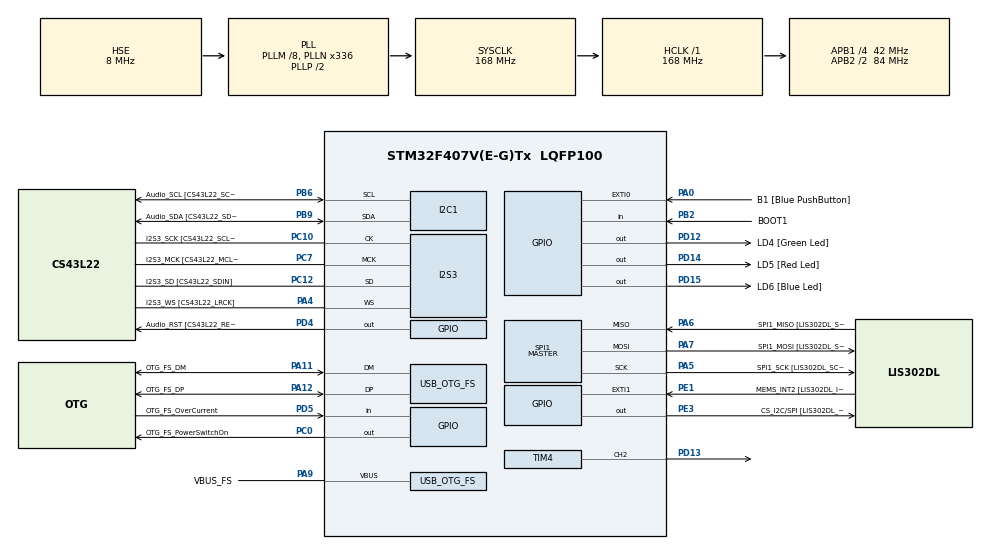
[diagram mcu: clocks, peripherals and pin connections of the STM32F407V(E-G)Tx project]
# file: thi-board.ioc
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FREERTOS.Queues01=logQueue,16,uint32_t,0,Dynamic,NULL,NULL
FREERTOS.Tasks01=IOControl,32,128,IOControlTask,Default,NULL,Dynamic,NULL,NULL;displayTask,40,128,StartDisplayTask,Default,NULL,Dynamic,NULL,NULL;readMsCounter,8,128,StartTask03,Default,NULL,Dynamic,NULL,NULL
FREERTOS.configUSE_NEWLIB_REENTRANT=1
I2S3.AudioFreq-Half_Duplex_Master=I2S_AUDIOFREQ_96K
I2S3.ErrorAudioFreq=-2.34 %
I2S3.ErrorAudioFreq-Half_Duplex_Master=0.8 %
I2S3.FullDuplexMode=I2S_FULLDUPLEXMODE_DISABLE
I2S3.Instance=SPI$Index
I2S3.RealAudioFreq=93.75 KHz
I2S3.RealAudioFreq-Half_Duplex_Master=96.774 KHz
I2S3.VirtualMode=I2S_MODE_MASTER
Mcu.Family=STM32F4
Mcu.Name=STM32F407V(E-G)Tx
Mcu.Package=LQFP100
NVIC.OTG_FS_IRQn=true\:5\:0\:false\:false\:true\:true\:true\:true\:true
NVIC.PriorityGroup=NVIC_PRIORITYGROUP_4
NVIC.TIM7_IRQn=true\:5\:0\:false\:false\:true\:true\:true\:true\:true
NVIC.TIM8_UP_TIM13_IRQn=true\:15\:0\:false\:false\:true\:false\:false\:true\:true
NVIC.TimeBase=TIM8_UP_TIM13_IRQn
NVIC.TimeBaseIP=TIM8
PA0-WKUP.GPIO_Label=B1 [Blue PushButton]
PA0-WKUP.GPIO_ModeDefaultEXTI=GPIO_MODE_EVT_RISING
PA0-WKUP.GPIO_PuPd=GPIO_NOPULL
PA0-WKUP.Signal=GPXTI0
PA10.GPIO_Label=OTG_FS_ID
PA10.GPIO_Mode=GPIO_MODE_AF_PP
PA10.GPIO_PuPd=GPIO_NOPULL
PA10.GPIO_Speed=GPIO_SPEED_FREQ_LOW
PA10.Signal=USB_OTG_FS_ID
PA11.GPIO_Label=OTG_FS_DM
PA11.GPIO_Mode=GPIO_MODE_AF_PP
PA11.GPIO_PuPd=GPIO_NOPULL
PA11.GPIO_Speed=GPIO_SPEED_FREQ_LOW
PA11.Mode=Host_Only
PA11.Signal=USB_OTG_FS_DM
PA12.GPIO_Label=OTG_FS_DP
PA12.GPIO_Mode=GPIO_MODE_AF_PP
PA12.GPIO_PuPd=GPIO_NOPULL
PA12.GPIO_Speed=GPIO_SPEED_FREQ_LOW
PA12.Mode=Host_Only
PA12.Signal=USB_OTG_FS_DP
PA13.GPIO_Label=SWDIO
PA13.Mode=Serial_Wire
PA13.Signal=SYS_JTMS-SWDIO
PA14.GPIO_Label=SWCLK
PA14.Mode=Serial_Wire
PA14.Signal=SYS_JTCK-SWCLK
PA4.GPIO_Label=I2S3_WS [CS43L22_LRCK]
PA4.GPIO_Mode=GPIO_MODE_AF_PP
PA4.GPIO_PuPd=GPIO_NOPULL
PA4.GPIO_Speed=GPIO_SPEED_FREQ_LOW
PA4.Mode=Half_Duplex_Master
PA4.Signal=I2S3_WS
PA5.GPIO_Label=SPI1_SCK [LIS302DL_SCL/SPC]
PA5.GPIO_Mode=GPIO_MODE_AF_PP
PA5.GPIO_PuPd=GPIO_NOPULL
PA5.GPIO_Speed=GPIO_SPEED_FREQ_LOW
PA5.Mode=Full_Duplex_Master
PA5.Signal=SPI1_SCK
PA6.GPIO_Label=SPI1_MISO [LIS302DL_SDO]
PA6.GPIO_Mode=GPIO_MODE_AF_PP
PA6.GPIO_PuPd=GPIO_NOPULL
PA6.GPIO_Speed=GPIO_SPEED_FREQ_LOW
PA6.Mode=Full_Duplex_Master
PA6.Signal=SPI1_MISO
PA7.GPIO_Label=SPI1_MOSI [LIS302DL_SDA/SDI/SDO]
PA7.GPIO_Mode=GPIO_MODE_AF_PP
PA7.GPIO_PuPd=GPIO_NOPULL
PA7.GPIO_Speed=GPIO_SPEED_FREQ_LOW
PA7.Mode=Full_Duplex_Master
PA7.Signal=SPI1_MOSI
PA9.GPIO_Label=VBUS_FS
PA9.GPIO_Mode=GPIO_MODE_INPUT
PA9.GPIO_PuPd=GPIO_NOPULL
PA9.Mode=Activate_VBUS
PA9.Signal=USB_OTG_FS_VBUS
PB10.GPIO_Label=CLK_IN [MP45DT02_CLK]
PB10.GPIO_Mode=GPIO_MODE_AF_PP
PB10.GPIO_PuPd=GPIO_NOPULL
PB10.GPIO_Speed=GPIO_SPEED_FREQ_LOW
PB10.Signal=I2S2_CK
PB2.GPIO_Label=BOOT1
PB2.GPIO_Mode=GPIO_MODE_INPUT
PB2.GPIO_PuPd=GPIO_NOPULL
PB2.Signal=GPIO_Input
PB3.GPIO_Label=SWO
PB3.Signal=SYS_JTDO-SWO
PB6.GPIO_Label=Audio_SCL [CS43L22_SCL]
PB6.GPIO_Mode=GPIO_MODE_AF_OD
PB6.GPIO_Pu=GPIO_PULLUP
PB6.GPIO_PuPd=GPIO_NOPULL
PB6.GPIO_Speed=GPIO_SPEED_FREQ_LOW
PB6.Mode=I2C
PB6.Signal=I2C1_SCL
PB9.GPIO_Label=Audio_SDA [CS43L22_SDA]
PB9.GPIO_Mode=GPIO_MODE_AF_OD
PB9.GPIO_Pu=GPIO_PULLUP
PB9.GPIO_PuPd=GPIO_NOPULL
PB9.GPIO_Speed=GPIO_SPEED_FREQ_LOW
PB9.Mode=I2C
PB9.Signal=I2C1_SDA
PC0.GPIO_Label=OTG_FS_PowerSwitchOn
PC0.GPIO_PuPd=GPIO_NOPULL
PC0.GPIO_Speed=GPIO_SPEED_FREQ_LOW
PC0.PinState=GPIO_PIN_SET
PC0.Signal=GPIO_Output
PC10.GPIO_Label=I2S3_SCK [CS43L22_SCLK]
PC10.GPIO_Mode=GPIO_MODE_AF_PP
PC10.GPIO_PuPd=GPIO_NOPULL
PC10.GPIO_Speed=GPIO_SPEED_FREQ_LOW
PC10.Mode=Half_Duplex_Master
PC10.Signal=I2S3_CK
PC12.GPIO_Label=I2S3_SD [CS43L22_SDIN]
PC12.GPIO_Mode=GPIO_MODE_AF_PP
PC12.GPIO_PuPd=GPIO_NOPULL
PC12.GPIO_Speed=GPIO_SPEED_FREQ_LOW
PC12.Mode=Half_Duplex_Master
PC12.Signal=I2S3_SD
PC14-OSC32_IN.GPIO_Label=PC14-OSC32_IN
PC14-OSC32_IN.Mode=LSE-External-Oscillator
PC14-OSC32_IN.Signal=RCC_OSC32_IN
PC15-OSC32_OUT.GPIO_Label=PC15-OSC32_OUT
PC15-OSC32_OUT.Mode=LSE-External-Oscillator
PC15-OSC32_OUT.Signal=RCC_OSC32_OUT
PC3.GPIO_Label=PDM_OUT [MP45DT02_DOUT]
PC3.GPIO_Mode=GPIO_MODE_AF_PP
PC3.GPIO_PuPd=GPIO_NOPULL
PC3.GPIO_Speed=GPIO_SPEED_FREQ_LOW
PC3.Signal=I2S2_SD
PC7.GPIO_Label=I2S3_MCK [CS43L22_MCLK]
PC7.GPIO_Mode=GPIO_MODE_AF_PP
PC7.GPIO_PuPd=GPIO_NOPULL
PC7.GPIO_Speed=GPIO_SPEED_FREQ_LOW
PC7.Mode=Master_Clock_Activated
PC7.Signal=I2S3_MCK
PD12.GPIO_Label=LD4 [Green Led]
PD12.GPIO_PuPd=GPIO_NOPULL
PD12.GPIO_Speed=GPIO_SPEED_FREQ_LOW
PD12.Signal=GPIO_Output
PD13.Signal=S_TIM4_CH2
PD14.GPIO_Label=LD5 [Red Led]
PD14.GPIO_PuPd=GPIO_NOPULL
PD14.GPIO_Speed=GPIO_SPEED_FREQ_LOW
PD14.Signal=GPIO_Output
PD15.GPIO_Label=LD6 [Blue Led]
PD15.GPIO_PuPd=GPIO_NOPULL
PD15.GPIO_Speed=GPIO_SPEED_FREQ_LOW
PD15.Signal=GPIO_Output
PD4.GPIO_Label=Audio_RST [CS43L22_RESET]
PD4.GPIO_PuPd=GPIO_NOPULL
PD4.GPIO_Speed=GPIO_SPEED_FREQ_LOW
PD4.Signal=GPIO_Output
PD5.GPIO_Label=OTG_FS_OverCurrent
PD5.GPIO_Mode=GPIO_MODE_INPUT
PD5.GPIO_PuPd=GPIO_NOPULL
PD5.Signal=GPIO_Input
PE1.GPIO_Label=MEMS_INT2 [LIS302DL_INT2]
PE1.GPIO_ModeDefaultEXTI=GPIO_MODE_EVT_RISING
PE1.GPIO_PuPd=GPIO_NOPULL
PE1.Signal=GPXTI1
PE3.GPIO_Label=CS_I2C/SPI [LIS302DL_CS_I2C/SPI]
PE3.GPIO_PuPd=GPIO_NOPULL
PE3.GPIO_Speed=GPIO_SPEED_FREQ_LOW
PE3.Signal=GPIO_Output
PH0-OSC_IN.GPIO_Label=PH0-OSC_IN
PH0-OSC_IN.Mode=HSE-External-Oscillator
PH0-OSC_IN.Signal=RCC_OSC_IN
PH1-OSC_OUT.GPIO_Label=PH1-OSC_OUT
PH1-OSC_OUT.Mode=HSE-External-Oscillator
PH1-OSC_OUT.Signal=RCC_OSC_OUT
ProjectManager.HeapSize=0x200
ProjectManager.StackSize=0x400
ProjectManager.TargetToolchain=STM32CubeIDE
RCC.48MHZClocksFreq_Value=48000000
RCC.AHBFreq_Value=168000000
RCC.APB1CLKDivider=RCC_HCLK_DIV4
RCC.APB1Freq_Value=42000000
RCC.APB1TimFreq_Value=84000000
RCC.APB2CLKDivider=RCC_HCLK_DIV2
RCC.APB2Freq_Value=84000000
RCC.APB2TimFreq_Value=168000000
RCC.CortexFreq_Value=168000000
RCC.HCLKFreq_Value=168000000
RCC.HSE_VALUE=8000000
RCC.HSI_VALUE=16000000
RCC.PLLM=8
RCC.PLLN=336
RCC.PLLQ=7
RCC.SYSCLKFreq_VALUE=168000000
RCC.SYSCLKSource=RCC_SYSCLKSOURCE_PLLCLK
RCC.VCOOutputFreq_Value=336000000
SH.S_TIM4_CH2.0=TIM4_CH2,PWM Generation2 CH2
SPI1.BaudRatePrescaler-Full_Duplex_Master=SPI_BAUDRATEPRESCALER_2
SPI1.CalculateBaudRate-Full_Duplex_Master=42.0 MBits/s
SPI1.Direction=SPI_DIRECTION_2LINES
SPI1.Mode=SPI_MODE_MASTER
SPI1.Mode-Full_Duplex_Master=SPI_MODE_MASTER
SPI1.VirtualType=VM_MASTER
TIM4.Channel-PWM\ Generation2\ CH2=TIM_CHANNEL_2
TIM4.Period=999
TIM4.Prescaler=419
TIM4.Pulse-PWM\ Generation2\ CH2=999
TIM7.Period=999
TIM7.Prescaler=83
TIM7.TIM_MasterOutputTrigger=TIM_TRGO_UPDATE
USB_HOST.BSP.number=1
USB_HOST.USBH_HandleTypeDef-CDC_FS=hUsbHostFS
USB_HOST.VirtualModeFS=Cdc
USB_HOST0.BSP.STBoard=false
USB_HOST0.BSP.api=Unknown
USB_HOST0.BSP.instance=PC0
USB_HOST0.BSP.ip=GPIO
USB_HOST0.BSP.mode=Output
USB_HOST0.BSP.name=Drive_VBUS_FS
USB_HOST0.BSP.solution=PC0
USB_OTG_FS.VirtualMode=Host_Only
USB_OTG_FS.phy_itface=HCD_PHY_EMBEDDED
VP_FREERTOS_VS_CMSIS_V2.Mode=CMSIS_V2
VP_SYS_VS_tim8.Mode=TIM8
VP_TIM4_VS_ClockSourceINT.Mode=Internal
VP_TIM7_VS_ClockSourceINT.Mode=Enable_Timer
VP_USB_HOST_VS_USB_HOST_CDC_FS.Mode=CDC_FS
board=STM32F407G-DISC1

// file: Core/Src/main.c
/* USER CODE BEGIN Header */
/**
  ******************************************************************************
  * @file           : main.c
  * @brief          : Main program body
  ******************************************************************************
  * @attention
  *
  * Copyright (c) 2023 STMicroelectronics.
  * All rights reserved.
  *
  * This software is licensed under terms that can be found in the LICENSE file
  * in the root directory of this software component.
  * If no LICENSE file comes with this software, it is provided AS-IS.
  *
  ******************************************************************************
  */
/* USER CODE END Header */
#include "main.h"
#include "cmsis_os.h"
#include "usb_host.h"

/* USER CODE BEGIN Includes */
#include "display.h"
#include "_mcpr_aufgabe3.h"
#include "string.h"
#include <stdio.h>
/* USER CODE END Includes */

/* USER CODE BEGIN PTD */
typedef struct log_queue_msg
{
  char msg_buf[MAX_STR_LEN];
  char threadName[MAX_STR_LEN];
} ThreadInfo;

/* USER CODE END PTD */

I2C_HandleTypeDef hi2c1;

I2S_HandleTypeDef hi2s3;

SPI_HandleTypeDef hspi1;

TIM_HandleTypeDef htim4;
TIM_HandleTypeDef htim7;

/* Definitions for IOControl */
osThreadId_t IOControlHandle;
const osThreadAttr_t IOControl_attributes = {
  .name = "IOControl",
  .stack_size = 128 * 4,
  .priority = (osPriority_t) osPriorityAboveNormal,
};
/* Definitions for displayTask */
osThreadId_t displayTaskHandle;
const osThreadAttr_t displayTask_attributes = {
  .name = "displayTask",
  .stack_size = 128 * 4,
  .priority = (osPriority_t) osPriorityHigh,
};
/* Definitions for readMsCounter */
osThreadId_t readMsCounterHandle;
const osThreadAttr_t readMsCounter_attributes = {
  .name = "readMsCounter",
  .stack_size = 128 * 4,
  .priority = (osPriority_t) osPriorityLow,
};
/* Definitions for logQueue */
osMessageQueueId_t logQueueHandle;
const osMessageQueueAttr_t logQueue_attributes = {
  .name = "logQueue"
};
/* USER CODE BEGIN PV */
volatile uint32_t ms_counter = 0;
volatile uint8_t buttonReleased = false;

/* USER CODE END PV */

void SystemClock_Config(void);
static void MX_GPIO_Init(void);
static void MX_I2C1_Init(void);
static void MX_I2S3_Init(void);
static void MX_SPI1_Init(void);
static void MX_TIM4_Init(void);
static void MX_TIM7_Init(void);
void IOControlTask(void *argument);
void StartDisplayTask(void *argument);
void StartTask03(void *argument);

int main(void)
{

  /* MCU Configuration--------------------------------------------------------*/

  /* Reset of all peripherals, Initializes the Flash interface and the Systick. */
  HAL_Init();

  /* Configure the system clock */
  SystemClock_Config();

  /* USER CODE BEGIN SysInit */
  /* GPIO Modifications done here, will be
   * overwritten by following init procedures
   */

  /* USER CODE END SysInit */

  /* Initialize all configured peripherals */
  MX_GPIO_Init();
  MX_I2C1_Init();
  MX_I2S3_Init();
  MX_SPI1_Init();
  MX_TIM4_Init();
  MX_TIM7_Init();
  /* USER CODE BEGIN 2 */
  mcpr_LCD_Init();

  HAL_TIM_Base_Start(&htim7);

  HAL_TIM_PWM_Start(&htim4, TIM_CHANNEL_2);

  /* USER CODE END 2 */

  /* Init scheduler */
  osKernelInitialize();

  /* Create the queue(s) */
  /* creation of logQueue */
  logQueueHandle = osMessageQueueNew (16, sizeof(ThreadInfo), &logQueue_attributes);

  /* Create the thread(s) */
  /* creation of IOControl */
  IOControlHandle = osThreadNew(IOControlTask, NULL, &IOControl_attributes);

  /* creation of displayTask */
  displayTaskHandle = osThreadNew(StartDisplayTask, NULL, &displayTask_attributes);

  /* creation of readMsCounter */
  readMsCounterHandle = osThreadNew(StartTask03, NULL, &readMsCounter_attributes);

  /* Start scheduler */
  osKernelStart();

  /* We should never get here as control is now taken by the scheduler */
  /* Infinite loop */
  while (1)
  {

  }
}

void SystemClock_Config(void)
{
  RCC_OscInitTypeDef RCC_OscInitStruct = {0};
  RCC_ClkInitTypeDef RCC_ClkInitStruct = {0};

  /** Configure the main internal regulator output voltage
  */
  __HAL_RCC_PWR_CLK_ENABLE();
  __HAL_PWR_VOLTAGESCALING_CONFIG(PWR_REGULATOR_VOLTAGE_SCALE1);

  /** Initializes the RCC Oscillators according to the specified parameters
  * in the RCC_OscInitTypeDef structure.
  */
  RCC_OscInitStruct.OscillatorType = RCC_OSCILLATORTYPE_HSE;
  RCC_OscInitStruct.HSEState = RCC_HSE_ON;
  RCC_OscInitStruct.PLL.PLLState = RCC_PLL_ON;
  RCC_OscInitStruct.PLL.PLLSource = RCC_PLLSOURCE_HSE;
  RCC_OscInitStruct.PLL.PLLM = 8;
  RCC_OscInitStruct.PLL.PLLN = 336;
  RCC_OscInitStruct.PLL.PLLP = RCC_PLLP_DIV2;
  RCC_OscInitStruct.PLL.PLLQ = 7;
  if (HAL_RCC_OscConfig(&RCC_OscInitStruct) != HAL_OK)
  {
    Error_Handler();
  }

  /** Initializes the CPU, AHB and APB buses clocks
  */
  RCC_ClkInitStruct.ClockType = RCC_CLOCKTYPE_HCLK|RCC_CLOCKTYPE_SYSCLK
                              |RCC_CLOCKTYPE_PCLK1|RCC_CLOCKTYPE_PCLK2;
  RCC_ClkInitStruct.SYSCLKSource = RCC_SYSCLKSOURCE_PLLCLK;
  RCC_ClkInitStruct.AHBCLKDivider = RCC_SYSCLK_DIV1;
  RCC_ClkInitStruct.APB1CLKDivider = RCC_HCLK_DIV4;
  RCC_ClkInitStruct.APB2CLKDivider = RCC_HCLK_DIV2;

  if (HAL_RCC_ClockConfig(&RCC_ClkInitStruct, FLASH_LATENCY_5) != HAL_OK)
  {
    Error_Handler();
  }
}

static void MX_I2C1_Init(void)
{

  hi2c1.Instance = I2C1;
  hi2c1.Init.ClockSpeed = 100000;
  hi2c1.Init.DutyCycle = I2C_DUTYCYCLE_2;
  hi2c1.Init.OwnAddress1 = 0;
  hi2c1.Init.AddressingMode = I2C_ADDRESSINGMODE_7BIT;
  hi2c1.Init.DualAddressMode = I2C_DUALADDRESS_DISABLE;
  hi2c1.Init.OwnAddress2 = 0;
  hi2c1.Init.GeneralCallMode = I2C_GENERALCALL_DISABLE;
  hi2c1.Init.NoStretchMode = I2C_NOSTRETCH_DISABLE;
  if (HAL_I2C_Init(&hi2c1) != HAL_OK)
  {
    Error_Handler();
  }

}

static void MX_I2S3_Init(void)
{

  hi2s3.Instance = SPI3;
  hi2s3.Init.Mode = I2S_MODE_MASTER_TX;
  hi2s3.Init.Standard = I2S_STANDARD_PHILIPS;
  hi2s3.Init.DataFormat = I2S_DATAFORMAT_16B;
  hi2s3.Init.MCLKOutput = I2S_MCLKOUTPUT_ENABLE;
  hi2s3.Init.AudioFreq = I2S_AUDIOFREQ_96K;
  hi2s3.Init.CPOL = I2S_CPOL_LOW;
  hi2s3.Init.ClockSource = I2S_CLOCK_PLL;
  hi2s3.Init.FullDuplexMode = I2S_FULLDUPLEXMODE_DISABLE;
  if (HAL_I2S_Init(&hi2s3) != HAL_OK)
  {
    Error_Handler();
  }

}

static void MX_SPI1_Init(void)
{

  /* SPI1 parameter configuration*/
  hspi1.Instance = SPI1;
  hspi1.Init.Mode = SPI_MODE_MASTER;
  hspi1.Init.Direction = SPI_DIRECTION_2LINES;
  hspi1.Init.DataSize = SPI_DATASIZE_8BIT;
  hspi1.Init.CLKPolarity = SPI_POLARITY_LOW;
  hspi1.Init.CLKPhase = SPI_PHASE_1EDGE;
  hspi1.Init.NSS = SPI_NSS_SOFT;
  hspi1.Init.BaudRatePrescaler = SPI_BAUDRATEPRESCALER_2;
  hspi1.Init.FirstBit = SPI_FIRSTBIT_MSB;
  hspi1.Init.TIMode = SPI_TIMODE_DISABLE;
  hspi1.Init.CRCCalculation = SPI_CRCCALCULATION_DISABLE;
  hspi1.Init.CRCPolynomial = 10;
  if (HAL_SPI_Init(&hspi1) != HAL_OK)
  {
    Error_Handler();
  }

}

static void MX_TIM4_Init(void)
{

  TIM_ClockConfigTypeDef sClockSourceConfig = {0};
  TIM_MasterConfigTypeDef sMasterConfig = {0};
  TIM_OC_InitTypeDef sConfigOC = {0};

  htim4.Instance = TIM4;
  htim4.Init.Prescaler = 419;
  htim4.Init.CounterMode = TIM_COUNTERMODE_UP;
  htim4.Init.Period = 999;
  htim4.Init.ClockDivision = TIM_CLOCKDIVISION_DIV1;
  htim4.Init.AutoReloadPreload = TIM_AUTORELOAD_PRELOAD_DISABLE;
  if (HAL_TIM_Base_Init(&htim4) != HAL_OK)
  {
    Error_Handler();
  }
  sClockSourceConfig.ClockSource = TIM_CLOCKSOURCE_INTERNAL;
  if (HAL_TIM_ConfigClockSource(&htim4, &sClockSourceConfig) != HAL_OK)
  {
    Error_Handler();
  }
  if (HAL_TIM_PWM_Init(&htim4) != HAL_OK)
  {
    Error_Handler();
  }
  sMasterConfig.MasterOutputTrigger = TIM_TRGO_RESET;
  sMasterConfig.MasterSlaveMode = TIM_MASTERSLAVEMODE_DISABLE;
  if (HAL_TIMEx_MasterConfigSynchronization(&htim4, &sMasterConfig) != HAL_OK)
  {
    Error_Handler();
  }
  sConfigOC.OCMode = TIM_OCMODE_PWM1;
  sConfigOC.Pulse = 999;
  sConfigOC.OCPolarity = TIM_OCPOLARITY_HIGH;
  sConfigOC.OCFastMode = TIM_OCFAST_DISABLE;
  if (HAL_TIM_PWM_ConfigChannel(&htim4, &sConfigOC, TIM_CHANNEL_2) != HAL_OK)
  {
    Error_Handler();
  }
  HAL_TIM_MspPostInit(&htim4);

}

static void MX_TIM7_Init(void)
{

  TIM_MasterConfigTypeDef sMasterConfig = {0};

  htim7.Instance = TIM7;
  htim7.Init.Prescaler = 83;
  htim7.Init.CounterMode = TIM_COUNTERMODE_UP;
  htim7.Init.Period = 999;
  htim7.Init.AutoReloadPreload = TIM_AUTORELOAD_PRELOAD_DISABLE;
  if (HAL_TIM_Base_Init(&htim7) != HAL_OK)
  {
    Error_Handler();
  }
  sMasterConfig.MasterOutputTrigger = TIM_TRGO_UPDATE;
  sMasterConfig.MasterSlaveMode = TIM_MASTERSLAVEMODE_DISABLE;
  if (HAL_TIMEx_MasterConfigSynchronization(&htim7, &sMasterConfig) != HAL_OK)
  {
    Error_Handler();
  }
  /* USER CODE BEGIN TIM7_Init 2 */

  /* Set UIE Flag - trigger interrupt on ARR overflow */
  __HAL_TIM_ENABLE_IT(&htim7, TIM_IT_UPDATE);
  /* USER CODE END TIM7_Init 2 */

}

static void MX_GPIO_Init(void)
{
  GPIO_InitTypeDef GPIO_InitStruct = {0};

  /* GPIO Ports Clock Enable */
  __HAL_RCC_GPIOE_CLK_ENABLE();
  __HAL_RCC_GPIOC_CLK_ENABLE();
  __HAL_RCC_GPIOH_CLK_ENABLE();
  __HAL_RCC_GPIOA_CLK_ENABLE();
  __HAL_RCC_GPIOB_CLK_ENABLE();
  __HAL_RCC_GPIOD_CLK_ENABLE();

  /*Configure GPIO pin Output Level */
  HAL_GPIO_WritePin(CS_I2C_SPI_GPIO_Port, CS_I2C_SPI_Pin, GPIO_PIN_RESET);

  /*Configure GPIO pin Output Level */
  HAL_GPIO_WritePin(OTG_FS_PowerSwitchOn_GPIO_Port, OTG_FS_PowerSwitchOn_Pin, GPIO_PIN_SET);

  /*Configure GPIO pin Output Level */
  HAL_GPIO_WritePin(GPIOD, LD4_Pin|LD5_Pin|LD6_Pin|Audio_RST_Pin, GPIO_PIN_RESET);

  /*Configure GPIO pin : CS_I2C_SPI_Pin */
  GPIO_InitStruct.Pin = CS_I2C_SPI_Pin;
  GPIO_InitStruct.Mode = GPIO_MODE_OUTPUT_PP;
  GPIO_InitStruct.Pull = GPIO_NOPULL;
  GPIO_InitStruct.Speed = GPIO_SPEED_FREQ_LOW;
  HAL_GPIO_Init(CS_I2C_SPI_GPIO_Port, &GPIO_InitStruct);

  /*Configure GPIO pin : OTG_FS_PowerSwitchOn_Pin */
  GPIO_InitStruct.Pin = OTG_FS_PowerSwitchOn_Pin;
  GPIO_InitStruct.Mode = GPIO_MODE_OUTPUT_PP;
  GPIO_InitStruct.Pull = GPIO_NOPULL;
  GPIO_InitStruct.Speed = GPIO_SPEED_FREQ_LOW;
  HAL_GPIO_Init(OTG_FS_PowerSwitchOn_GPIO_Port, &GPIO_InitStruct);

  /*Configure GPIO pin : PDM_OUT_Pin */
  GPIO_InitStruct.Pin = PDM_OUT_Pin;
  GPIO_InitStruct.Mode = GPIO_MODE_AF_PP;
  GPIO_InitStruct.Pull = GPIO_NOPULL;
  GPIO_InitStruct.Speed = GPIO_SPEED_FREQ_LOW;
  GPIO_InitStruct.Alternate = GPIO_AF5_SPI2;
  HAL_GPIO_Init(PDM_OUT_GPIO_Port, &GPIO_InitStruct);

  /*Configure GPIO pin : B1_Pin */
  GPIO_InitStruct.Pin = B1_Pin;
  GPIO_InitStruct.Mode = GPIO_MODE_EVT_RISING;
  GPIO_InitStruct.Pull = GPIO_NOPULL;
  HAL_GPIO_Init(B1_GPIO_Port, &GPIO_InitStruct);

  /*Configure GPIO pin : BOOT1_Pin */
  GPIO_InitStruct.Pin = BOOT1_Pin;
  GPIO_InitStruct.Mode = GPIO_MODE_INPUT;
  GPIO_InitStruct.Pull = GPIO_NOPULL;
  HAL_GPIO_Init(BOOT1_GPIO_Port, &GPIO_InitStruct);

  /*Configure GPIO pin : CLK_IN_Pin */
  GPIO_InitStruct.Pin = CLK_IN_Pin;
  GPIO_InitStruct.Mode = GPIO_MODE_AF_PP;
  GPIO_InitStruct.Pull = GPIO_NOPULL;
  GPIO_InitStruct.Speed = GPIO_SPEED_FREQ_LOW;
  GPIO_InitStruct.Alternate = GPIO_AF5_SPI2;
  HAL_GPIO_Init(CLK_IN_GPIO_Port, &GPIO_InitStruct);

  /*Configure GPIO pins : LD4_Pin LD5_Pin LD6_Pin Audio_RST_Pin */
  GPIO_InitStruct.Pin = LD4_Pin|LD5_Pin|LD6_Pin|Audio_RST_Pin;
  GPIO_InitStruct.Mode = GPIO_MODE_OUTPUT_PP;
  GPIO_InitStruct.Pull = GPIO_NOPULL;
  GPIO_InitStruct.Speed = GPIO_SPEED_FREQ_LOW;
  HAL_GPIO_Init(GPIOD, &GPIO_InitStruct);

  /*Configure GPIO pin : OTG_FS_OverCurrent_Pin */
  GPIO_InitStruct.Pin = OTG_FS_OverCurrent_Pin;
  GPIO_InitStruct.Mode = GPIO_MODE_INPUT;
  GPIO_InitStruct.Pull = GPIO_NOPULL;
  HAL_GPIO_Init(OTG_FS_OverCurrent_GPIO_Port, &GPIO_InitStruct);

  /*Configure GPIO pin : MEMS_INT2_Pin */
  GPIO_InitStruct.Pin = MEMS_INT2_Pin;
  GPIO_InitStruct.Mode = GPIO_MODE_EVT_RISING;
  GPIO_InitStruct.Pull = GPIO_NOPULL;
  HAL_GPIO_Init(MEMS_INT2_GPIO_Port, &GPIO_InitStruct);

}

void IOControlTask(void *argument)
{
  /* init code for USB_HOST */
  MX_USB_HOST_Init();
  /* USER CODE BEGIN 5 */
  uint8_t cnt = 0;
  uint32_t newDutyCycle = 0;
  ThreadInfo tInfo;

  /* RFC 1925 2.1: "It Has To Work" */
  strcpy(tInfo.threadName, osThreadGetName(osThreadGetId()));

  /* Infinite loop */
  for (;;)
  {

    if (HAL_GPIO_ReadPin(B1_GPIO_Port, B1_Pin) != GPIO_PIN_RESET && buttonReleased)
    {
      /* Lock */
  	  buttonReleased = false;

  	  /* Clear message buffer */
  	  memset((void*)tInfo.msg_buf, 0, MAX_STR_LEN);

  	  /* continuous count for changing brightness */
      cnt = (cnt + 1) % 4;

  	  switch (cnt)
  	  {
  		case 0:
  			newDutyCycle = 1000;
  			strncpy(tInfo.msg_buf, "Brightness: 100%", MAX_STR_LEN);
  			break;

  		case 1:
  			newDutyCycle = 750;
  			strncpy(tInfo.msg_buf, "Brightness: 75%", MAX_STR_LEN);
  			break;

  		case 2:
  			newDutyCycle = 500;
  			strncpy(tInfo.msg_buf, "Brightness: 50%", MAX_STR_LEN);
  			break;

  		case 3:
  			newDutyCycle = 250;
  			strncpy(tInfo.msg_buf, "Brightness: 25%", MAX_STR_LEN);
  			break;

  	    default:
  			newDutyCycle = 0;
  			strncpy(tInfo.msg_buf, "Brightness: 0%", MAX_STR_LEN);
  			break;
  	    }

  	    /* Set CCR2 Value */
  	    __HAL_TIM_SET_COMPARE(&htim4, TIM_CHANNEL_2, newDutyCycle);

  	    /* Add message to Queue */
  	    if(osMessageQueuePut(logQueueHandle, (void*)&tInfo, 0, 100) != osOK)
  	    {
  	    	// Error Handling
  	    }

      }
  	  else if (HAL_GPIO_ReadPin(B1_GPIO_Port, B1_Pin) == GPIO_PIN_RESET)
  	  {
  		if (!buttonReleased)
  			buttonReleased = true;
  	  }
  	osDelay(pdMS_TO_TICKS(1));
  }
  /* USER CODE END 5 */
}

/* USER CODE BEGIN Header_StartDisplayTask */
/**
* @brief Function implementing the displayTask thread.
* @param argument: Not use
* @retval None
*/
/* USER CODE END Header_StartDisplayTask */
void StartDisplayTask(void *argument)
{
  /* USER CODE BEGIN StartDisplayTask */
  ThreadInfo tInfo;
  osStatus_t status;

  mcpr_LCD_ClearDisplay(LCD_BLACK);

  mcpr_LCD_WriteString(10, 20, LCD_WHITE, LCD_BLACK, "Task 1: ");
  mcpr_LCD_WriteString(10, 100, LCD_WHITE, LCD_BLACK, "Task 2: ");

  /* Infinite loop */
  for(;;)
  {
	  if (osMessageQueueGetCount(logQueueHandle) > 0)
	  {
		  status = osMessageQueueGet(logQueueHandle, (void*)&tInfo, 0, 100);

		  /* Message was received successfully and stored in log */
		  if (status == osOK)
		  {
			  /* A message was received from IOControl Thread */
			  if (strcmp(tInfo.threadName, displayTask_attributes.name) == 0)
			  {
				  /* Task1 will be printed on y: 100 to 120*/

				  /* Das funktioniert aktuell nicht, hatte allerdings auch keine
				   * Zeit mich damit mehr zu beschäftigen...
				   */

				  //mcpr_LCD_ClearLine(100, 120, LCD_BLACK);
				  //mcpr_LCD_WriteString(10, 20, LCD_WHITE, LCD_BLACK, "Task 1: ");
				  //mcpr_LCD_WriteString(100, 20, LCD_WHITE, LCD_BLACK, tInfo.msg_buf);
			  }
			  else if (strcmp(tInfo.threadName, myTask03_attributes.name) == 0)
			  {
				  /* Task1 will be printed on y: 140 to 160*/
				  mcpr_LCD_ClearLine(100, 160, LCD_BLACK);
				  mcpr_LCD_WriteString(10, 100, LCD_WHITE, LCD_BLACK, "Task 2: ");
				  mcpr_LCD_WriteString(100, 100, LCD_WHITE, LCD_BLACK, tInfo.msg_buf);
			  }
		  }
		  else if (status == osErrorTimeout)
		  {
			  /* Error Handling */
			  /* Should not occur when timeout is set to osWaitForever */
		  }
		  else
		  {
			  /* Error Handling */
		  }
	  }
	  /* 25 Hz Refresh Rate - FreeRTOS clock rate: 1000Hz */
	  osDelay(pdMS_TO_TICKS(40));
  }
  /* USER CODE END StartDisplayTask */
}

void StartTask03(void *argument)
{
  /* USER CODE BEGIN StartTask03 */
  ThreadInfo tInfo;

  /* RFC 1925 2.1: "It Has To Work" */
  strcpy(tInfo.threadName, osThreadGetName(osThreadGetId()));

  /* Infinite loop */
  for(;;)
  {
	  /* Clear message buffer */
	  memset((void*)tInfo.msg_buf, 0, MAX_STR_LEN);

	  /* Write message into buffer */
	  snprintf(tInfo.msg_buf, MAX_STR_LEN, "ms_counter: %ld", ms_counter);

	  /* Add message to Queue */
	  if (osMessageQueuePut(logQueueHandle, (void*)&tInfo, 0, 100) != osOK)
	  {
		  /* Error Handling */
	  }

	  /* let this task run every 1000ms */
	  osDelay(pdMS_TO_TICKS(1000));
  }
  /* USER CODE END StartTask03 */
}

void HAL_TIM_PeriodElapsedCallback(TIM_HandleTypeDef *htim)
{
  if (htim->Instance == TIM8) {
    HAL_IncTick();
  }
  /* USER CODE BEGIN Callback 1 */
  if (htim->Instance == TIM7) {
	  ms_counter += 1;
  }
  /* USER CODE END Callback 1 */
}

void Error_Handler(void)
{
  __disable_irq();
  while (1)
  {
  }
}
